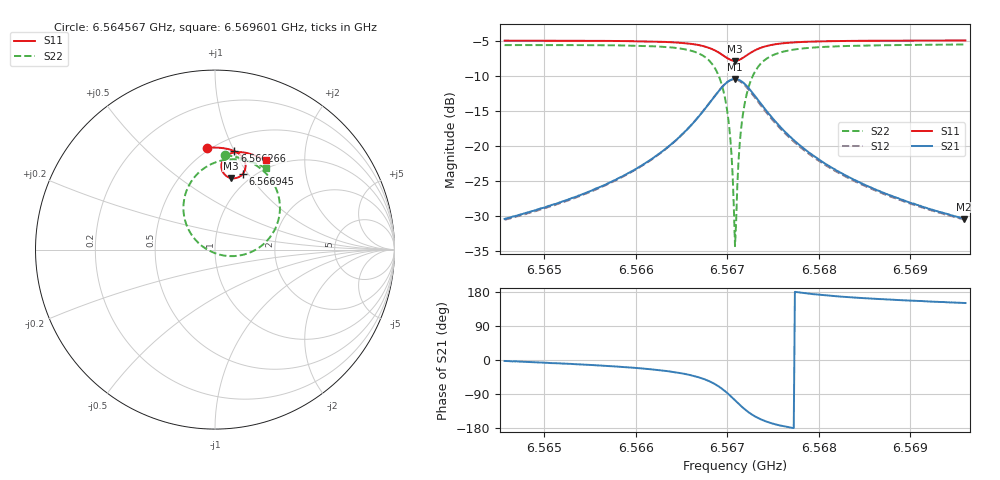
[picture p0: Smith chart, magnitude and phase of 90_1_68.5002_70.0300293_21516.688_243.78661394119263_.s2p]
#  HZ  S  RI  R  50.00
! Rohde & Schwarz Vector Network Analyzer
! Rohde-Schwarz,ZNB20-2Port,1311601062101988,3.16
! Created: UTC 3/20/2024, 4:52:36 PM
! freq[Hz]  re:S11  im:S11  re:S21  im:S21  re:S12  im:S12  re:S22  im:S22
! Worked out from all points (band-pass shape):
!   401 points, 6.564567 GHz to 6.569601 GHz, reference 50 ohm
!   highest |S21| = -10.37 dB at 6.567084 GHz (marker M1); lowest = -30.4 dB at 6.569588 GHz (marker M2)
!   |S21| within 3 dB of the highest: 6.566831 GHz to 6.567335 GHz (504.2 kHz wide, 0.00768 % of centre)
!   lowest |S11| = -7.8 dB at 6.567084 GHz (marker M3), VSWR 2.38, Z = 42 + j40.2 ohm
!   |S11| at or under -10 dB: nowhere
!   |S22| runs from -34.3 to -5.4 dB; largest |S21 - S12| = 0.015
!   S11 on the Smith chart (normalised r, x): 6.564567 GHz: 0.48, +0.80; 6.566266 GHz: 0.63, +1.00; 6.566945 GHz: 0.89, +0.95; 6.569601 GHz: 0.88, +1.30
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6.5645668e9  -0.0457 0.5676  0.0302 -0.00134  0.0298 -0.00177  0.0569 0.5259
6.56541e9  0.0245 0.5676  0.0443 -0.00936  0.0436 -0.00996  0.1406 0.5097
6.5662532e9  0.1066 0.5491  0.079 -0.0398  0.0777 -0.0406  0.2616 0.4458
6.5662658e9  0.1082 0.5486  0.0797 -0.0407  0.0785 -0.0417  0.264 0.4437
6.5665427e9  0.1419 0.527  0.1025 -0.0775  0.1009 -0.0789  0.3243 0.3714
6.566744e9  0.1658 0.4919  0.1158 -0.1393  0.1129 -0.1423  0.3615 0.2518
6.5668573e9  0.1696 0.4569  0.1038 -0.2008  0.0985 -0.2048  0.3433 0.1343
6.5669454e9  0.1557 0.423  0.062 -0.2586  0.0525 -0.2622  0.2658 0.0264
6.5669832e9  0.142 0.4098  0.0303 -0.2801  0.0189 -0.282  0.2064 -0.0114
6.5670209e9  0.1238 0.4005  -0.00953 -0.2942  -0.0227 -0.2933  0.1328 -0.0338
6.5670712e9  0.0949 0.3975  -0.0701 -0.2945  -0.0837 -0.2889  0.0238 -0.0277
6.5670838e9  0.0875 0.3987  -0.0852 -0.2908  -0.0985 -0.2841  -0.00263 -0.0191
6.567109e9  0.0733 0.4038  -0.114 -0.2791  -0.1261 -0.27  -0.0519 0.00558
6.5671342e9  0.0611 0.4116  -0.1394 -0.2623  -0.1498 -0.2514  -0.0942 0.0389
6.5671719e9  0.0468 0.4271  -0.1689 -0.2308  -0.1762 -0.2182  -0.1407 0.0989
6.5672223e9  0.037 0.4505  -0.1911 -0.1842  -0.1944 -0.1714  -0.1717 0.1835
6.5672852e9  0.0365 0.4778  -0.197 -0.1311  -0.1965 -0.12  -0.1723 0.2767
6.5675117e9  0.0743 0.5298  -0.1511 -0.0295  -0.1475 -0.0249  -0.0689 0.4474
6.567927e9  0.1373 0.5435  -0.0865 0.00904  -0.0843 0.0103  0.0739 0.5023
6.5687702e9  0.2192 0.5254  -0.042 0.0156  -0.0411 0.0161  0.2059 0.4869
6.5695883e9  0.2813 0.497  -0.0263 0.0149  -0.0259 0.0151  0.2818 0.4539
6.5696009e9  0.2822 0.4965  -0.0263 0.015  -0.0257 0.015  0.2829 0.4535
